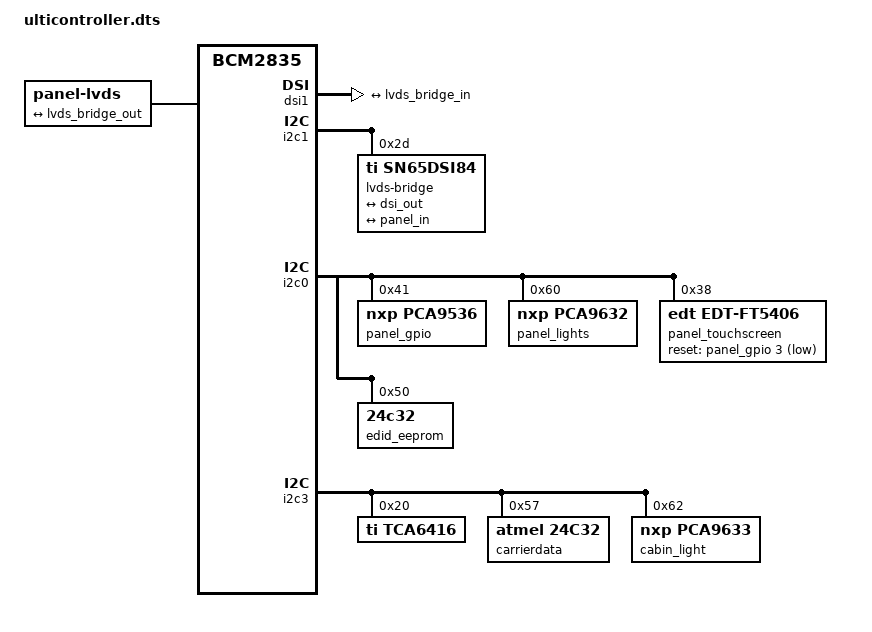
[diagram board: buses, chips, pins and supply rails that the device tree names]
/*
 * Device Tree overlay for UltiMaker Ulticontroller 4.0 Touchscreen panel (1024x600)
 * on Raspberry Pi Compute Module 4 with Ultimainboard 5.
 */

/dts-v1/;
/plugin/;

/ {
    compatible = "brcm,bcm2835";

    /* Fragment 0: DSI1 host output to TI SN65DSI84 bridge */
    dsi_frag: fragment@0 {
        target = <&dsi1>;
        __overlay__ {
            status = "okay";

            port {
                dsi_out: endpoint {
                    remote-endpoint = <&lvds_bridge_in>;
                    data-lanes = <1 2>;
                    attach-bridge;
                };
            };
        };
    };

    /* Fragment 1: SN65DSI84 DSI-to-LVDS bridge on I2C1 (GPIO 44/45) */
    i2c_bridge_frag: fragment@1 {
        target = <&i2c1>;
        __overlay__ {
            #address-cells = <1>;
            #size-cells = <0>;
            status = "okay";

            lvds-bridge@2d {
                compatible = "ti,sn65dsi84";
                reg = <0x2d>;
                status = "okay";

                ports {
                    #address-cells = <1>;
                    #size-cells = <0>;

                    port@0 {
                        reg = <0>;
                        lvds_bridge_in: endpoint {
                            remote-endpoint = <&dsi_out>;
                            data-lanes = <1 2>;
                        };
                    };

                    port@2 {
                        reg = <2>;
                        lvds_bridge_out: endpoint {
                            remote-endpoint = <&panel_in>;
                        };
                    };
                };
            };
        };
    };

    /* Fragment 2: LVDS Panel definition */
    panel_frag: fragment@2 {
        target-path = "/";
        __overlay__ {
            panel-lvds {
                compatible = "panel-lvds";
                status = "okay";
                width-mm = <155>;
                height-mm = <86>;
                data-mapping = "vesa-24";

                port {
                    panel_in: endpoint {
                        remote-endpoint = <&lvds_bridge_out>;
                    };
                };

                panel-timing {
                    clock-frequency = <51200000>;
                    hactive = <1024>;
                    vactive = <600>;
                    hfront-porch = <160>;
                    hsync-len = <10>;
                    hback-porch = <150>;
                    vfront-porch = <12>;
                    vsync-len = <10>;
                    vback-porch = <13>;
                    de-active = <0>;
                };
            };
        };
    };

    /* Fragment 3: Ulticontroller peripherals on I2C0 (GPIO 0/1) */
    i2c_display_frag: fragment@3 {
        target = <&i2c0>;
        __overlay__ {
            #address-cells = <1>;
            #size-cells = <0>;
            status = "okay";

            panel_gpio: pca9536@41 {
                compatible = "nxp,pca9536";
                reg = <0x41>;
                gpio-controller;
                #gpio-cells = <2>;
                gpio-line-names = "BUZZER_EN", "DOOR", "DISP_RST", "TOUCH_RST";

                disp_rst_hog {
                    gpio-hog;
                    gpios = <2 0>;
                    output-high;
                    line-name = "disp_rst_hog";
                };
            };

            panel_lights: pca9632@60 {
                compatible = "nxp,pca9632";
                reg = <0x60>;
                #address-cells = <1>;
                #size-cells = <0>;
                nxp,totem-pole;
                nxp,hw-blink;

                panel_backlight: backlight@3 {
                    label = "white:panel_backlight";
                    reg = <3>;
                    linux,default-trigger = "default-on";
                };
            };

            panel_touchscreen: ft5426@38 {
                compatible = "edt,edt-ft5406";
                reg = <0x38>;
                poll-interval = <30>;
                reset-gpios = <&panel_gpio 3 1>;
                touchscreen-size-x = <1024>;
                touchscreen-size-y = <600>;
                touchscreen-inverted-x;
                touchscreen-inverted-y;
            };

            panel_touchscreen_ngp: gt928@5d {
                compatible = "goodix,gt911";
                reg = <0x5d>;
                reset-gpios = <&panel_gpio 3 1>;
                touchscreen-size-x = <1024>;
                touchscreen-size-y = <600>;
                status = "disabled";
            };

            edid_eeprom: 24c32@50 {
                compatible = "24c32";
                reg = <0x50>;
                pagesize = <32>;
            };
        };
    };

    /* Fragment 4: Ultimainboard 5 power, GPIOs, and cabin lights on I2C3 (GPIO 2/3) */
    i2c_mainboard_frag: fragment@4 {
        target = <&i2c3>;
        __overlay__ {
            #address-cells = <1>;
            #size-cells = <0>;
            status = "okay";

            tca6416@20 {
                compatible = "ti,tca6416";
                reg = <0x20>;
                gpio-controller;
                #gpio-cells = <2>;
                gpio-line-names = "VCC5_EXT_EN", "VCC5_EXT_OK", "VCC5_FAN_EN", "VCC5_FAN_OK",
                                  "HDMI_PWR_EN", "HDMI_PWR_OK", "VCC5_PH_EN", "VCC5_PH_OK",
                                  "VCC24_HP_PG", "VCC24_MOT_PG", "LVDS_PWR_EN", "LVDS_PWR_OK",
                                  "SAFETY_BTN_STATUS", "SAFETY_RESET", "VCC24_PH_EN", "VCC24_MOT_EN";

                lvds_pwr_en_hog {
                    gpio-hog;
                    gpios = <10 0>;
                    output-high;
                    line-name = "lvds_pwr_en_hog";
                };
            };

            carrierdata@57 {
                compatible = "atmel,24c32";
                reg = <0x57>;
                pagesize = <32>;
            };

            cabin_light: pca9633@62 {
                compatible = "nxp,pca9633";
                reg = <0x62>;
                #address-cells = <1>;
                #size-cells = <0>;
                nxp,totem-pole;
                nxp,inverted-out;
                nxp,hw-blink;

                white4@0 {
                    label = "white4:cabin_light";
                    reg = <0>;
                    linux,default-trigger = "default-on";
                };
                white3@1 {
                    label = "white3:cabin_light";
                    reg = <1>;
                    linux,default-trigger = "default-on";
                };
                white2@2 {
                    label = "white2:cabin_light";
                    reg = <2>;
                    linux,default-trigger = "default-on";
                };
                white@3 {
                    label = "white:cabin_light";
                    reg = <3>;
                    linux,default-trigger = "default-on";
                };
            };
        };
    };
};
